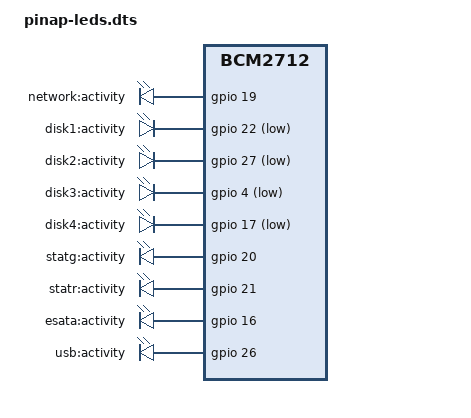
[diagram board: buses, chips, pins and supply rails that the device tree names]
/dts-v1/;
/plugin/;

/ {
    compatible = "brcm,bcm2712";
    
    fragment@0 {
        target-path = "/";
        __overlay__ {
            leds {
                compatible = "gpio-leds";

                network_led {
                    label = "network:activity";
                    gpios = <&gpio 19 0>;  // GPIO 19, active high
                    linux,default-trigger = "netdev";
                    default-state = "off";
                };
  
                disk1_led {
                    label = "disk1:activity";
                    gpios = <&gpio 22 1>;  // GPIO 22, active low
                    linux,default-trigger = "none";
                    default-state = "off";
                };
  
                disk2_led {
                    label = "disk2:activity";
                    gpios = <&gpio 27 1>;  // GPIO 27, active low
                    linux,default-trigger = "none";
                    default-state = "off";
                };
  
                disk3_led {
                    label = "disk3:activity";
                    gpios = <&gpio 4 1>;  // GPIO 4, active low
                    linux,default-trigger = "none";
                    default-state = "off";
                };

                disk4_led {
                    label = "disk4:activity";
                    gpios = <&gpio 17 1>;  // GPIO 17, active low
                    linux,default-trigger = "none";
                    default-state = "off";
                };

                statg_led {
                    label = "statg:activity";
                    gpios = <&gpio 20 0>;  // GPIO 20, active high
                    linux,default-trigger = "heartbeat";
                    default-state = "off";
                };

                statr_led {
                    label = "statr:activity";
                    gpios = <&gpio 21 0>;  // GPIO 21, active high
                    linux,default-trigger = "none";
                    default-state = "off";
                };

                esata_led {
                    label = "esata:activity";
                    gpios = <&gpio 16 0>;  // GPIO 16, active high
                    linux,default-trigger = "none";
                    default-state = "off";
                };

                usb_led {
                    label = "usb:activity";
                    gpios = <&gpio 26 0>;  // GPIO 26, active high
                    linux,default-trigger = "none";
                    default-state = "off";
                };

            };
        };
    };
};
